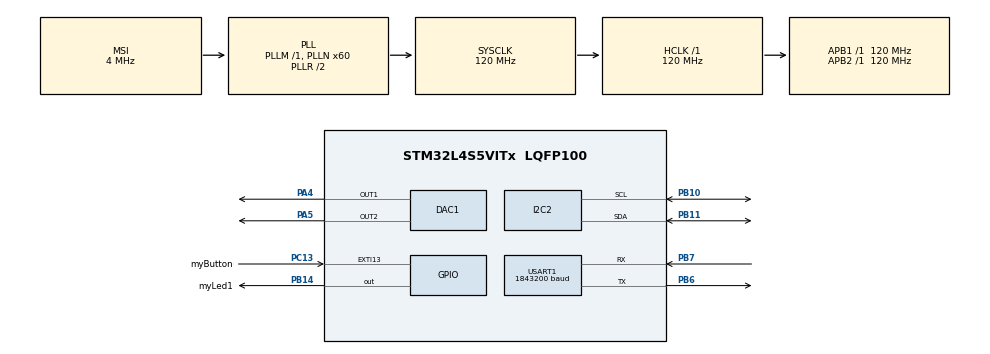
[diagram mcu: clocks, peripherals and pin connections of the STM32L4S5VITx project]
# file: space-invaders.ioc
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ADC1.Channel-0\#ChannelRegularConversion=ADC_CHANNEL_VREFINT
ADC1.NbrOfConversionFlag=1
ADC1.OffsetNumber-0\#ChannelRegularConversion=ADC_OFFSET_NONE
ADC1.Rank-0\#ChannelRegularConversion=1
ADC1.SamplingTime-0\#ChannelRegularConversion=ADC_SAMPLETIME_640CYCLES_5
ADC1.master=1
DAC1.DAC_Channel-DAC_OUT2=DAC_CHANNEL_2
DAC1.DAC_Trigger-DAC_OUT1=DAC_TRIGGER_T2_TRGO
Dma.DAC1_CH1.0.Direction=DMA_MEMORY_TO_PERIPH
Dma.DAC1_CH1.0.EventEnable=DISABLE
Dma.DAC1_CH1.0.Instance=DMA1_Channel1
Dma.DAC1_CH1.0.MemDataAlignment=DMA_MDATAALIGN_HALFWORD
Dma.DAC1_CH1.0.MemInc=DMA_MINC_ENABLE
Dma.DAC1_CH1.0.Mode=DMA_CIRCULAR
Dma.DAC1_CH1.0.PeriphDataAlignment=DMA_PDATAALIGN_HALFWORD
Dma.DAC1_CH1.0.PeriphInc=DMA_PINC_DISABLE
Dma.DAC1_CH1.0.Polarity=HAL_DMAMUX_REQUEST_GEN_RISING
Dma.DAC1_CH1.0.Priority=DMA_PRIORITY_LOW
Dma.DAC1_CH1.0.RequestNumber=1
Dma.DAC1_CH1.0.SignalID=NONE
Dma.DAC1_CH1.0.SyncEnable=DISABLE
Dma.DAC1_CH1.0.SyncPolarity=HAL_DMAMUX_SYNC_NO_EVENT
Dma.DAC1_CH1.0.SyncRequestNumber=1
Dma.DAC1_CH1.0.SyncSignalID=NONE
Dma.Request0=DAC1_CH1
FREERTOS.Tasks01=defaultTask,-2,256,StartDefaultTask,Default,NULL,Dynamic,NULL,NULL;processingData,0,256,StartProcessData,Default,NULL,Dynamic,NULL,NULL;soundTask,-3,128,StartSoundTask,Default,NULL,Dynamic,NULL,NULL
FREERTOS.configTOTAL_HEAP_SIZE=6000
I2C2.Timing=0x30A175AB
Mcu.Family=STM32L4
Mcu.Name=STM32L4S5VITx
Mcu.Package=LQFP100
NVIC.DMA1_Channel1_IRQn=true\:5\:0\:false\:false\:true\:true\:false\:true\:true
NVIC.EXTI15_10_IRQn=true\:5\:0\:false\:false\:true\:true\:true\:true\:true
NVIC.PriorityGroup=NVIC_PRIORITYGROUP_4
NVIC.TIM2_IRQn=true\:5\:0\:false\:false\:true\:true\:true\:true\:true
NVIC.TIM6_DAC_IRQn=true\:5\:0\:false\:false\:true\:false\:false\:true\:true
PA13\ (JTMS/SWDIO).Signal=SYS_JTMS-SWDIO
PA4.Signal=SharedAnalog_PA4
PA5.Signal=COMP_DAC12_group
PB10.Mode=I2C
PB10.Signal=I2C2_SCL
PB11.Mode=I2C
PB11.Signal=I2C2_SDA
PB14.GPIO_Label=myLed1
PB14.Signal=GPIO_Output
PB3\ (JTDO/TRACESWO).Signal=SYS_JTDO-SWO
PB6.Mode=Asynchronous
PB6.Signal=USART1_TX
PB7.Mode=Asynchronous
PB7.Signal=USART1_RX
PC13.GPIO_Label=myButton
PC13.Signal=GPXTI13
ProjectManager.HeapSize=0x200
ProjectManager.StackSize=0x400
ProjectManager.TargetToolchain=STM32CubeIDE
RCC.ADCFreq_Value=48000000
RCC.AHBFreq_Value=120000000
RCC.APB1Freq_Value=120000000
RCC.APB1TimFreq_Value=120000000
RCC.APB2Freq_Value=120000000
RCC.APB2TimFreq_Value=120000000
RCC.CortexFreq_Value=120000000
RCC.HCLKFreq_Value=120000000
RCC.HSE_VALUE=8000000
RCC.HSI48_VALUE=48000000
RCC.HSI_VALUE=16000000
RCC.LSE_VALUE=32768
RCC.MSI_VALUE=4000000
RCC.PLLN=60
RCC.PLLSAI1N=24
RCC.SYSCLKFreq_VALUE=120000000
RCC.SYSCLKSource=RCC_SYSCLKSOURCE_PLLCLK
RCC.USBFreq_Value=48000000
RCC.VCOOutputFreq_Value=240000000
SH.COMP_DAC12_group.0=DAC1_OUT2,DAC_OUT2
SH.SharedAnalog_PA4.0=DAC1_OUT1,DAC_OUT1
SH.SharedAnalog_PA4.1=ADC1_IN9,IN9-Single-Ended
TIM2.Period=2727
TIM2.TIM_MasterOutputTrigger=TIM_TRGO_UPDATE
USART1.BaudRate=1843200
USART1.ClockPrescaler=PRESCALER_DIV4
USART1.VirtualMode-Asynchronous=VM_ASYNC
VP_ADC1_Vref_Input.Mode=IN-Vrefint
VP_FREERTOS_VS_CMSIS_V1.Mode=CMSIS_V1
VP_TIM2_VS_ClockSourceINT.Mode=Internal
board=B-L4S5I-IOT01A

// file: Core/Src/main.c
/* USER CODE BEGIN Header */
/**
  ******************************************************************************
  * @file           : main.c
  * @brief          : Main program body
  ******************************************************************************
  * @attention
  *
  * Copyright (c) 2024 STMicroelectronics.
  * All rights reserved.
  *
  * This software is licensed under terms that can be found in the LICENSE file
  * in the root directory of this software component.
  * If no LICENSE file comes with this software, it is provided AS-IS.
  *
  ******************************************************************************
  */
/* USER CODE END Header */
#include "main.h"
#include "cmsis_os.h"

/* USER CODE BEGIN Includes */
#include "arm_math.h"
#include <stdio.h>
#include "util.h"
#include "kalman.h"
#include "ui.h"
/* USER CODE END Includes */

/* USER CODE BEGIN PD */
#define ARM_MATH_CM4

// sound
#define SIZE1K ((float) 44.0)
#define SIZE15K ((float) 30.0)
#define SIZE2K ((float) 22.0)

#define VREFINT_CAL_ADDRESS ((uint16_t*) (0x1FFF75AA))
#define VREFINT_CAL (*VREFINT_CAL_ADDRESS)

/* USER CODE END PD */

ADC_HandleTypeDef hadc1;

DAC_HandleTypeDef hdac1;
DMA_HandleTypeDef hdma_dac1_ch1;

I2C_HandleTypeDef hi2c2;

TIM_HandleTypeDef htim2;

UART_HandleTypeDef huart1;

osThreadId defaultTaskHandle;
osThreadId processingDataHandle;
osThreadId soundTaskHandle;

void SystemClock_Config(void);
static void MX_GPIO_Init(void);
static void MX_DMA_Init(void);
static void MX_I2C2_Init(void);
static void MX_USART1_UART_Init(void);
static void MX_ADC1_Init(void);
static void MX_DAC1_Init(void);
static void MX_TIM2_Init(void);
void StartDefaultTask(void const * argument);
void StartProcessData(void const * argument);
void StartSoundTask(void const * argument);

/* USER CODE BEGIN PFP */
/* Private function prototypes -----------------------------------------------*/
/* USER CODE END PFP */

/* USER CODE BEGIN 0 */

/* Constants */
#define ACCEL_THRESHOLD 10.0f  // Threshold for tilt detection

const char* map_names[NUM_MAPS] = {
    "Zeljko's Dungeon",
    "Zilander",
    "Zoolander",
	"Zoolander 2",
	"Zoo york"
};

/* Tilting detection */
int16_t x_position = X_MAP_SIZE/2 ;

/* Kalman Filter States */
kalman_state kalman_x = {0.07f, 2.0f, 0.0f, 1.0f, 0.0f};
kalman_state kalman_y = {0.07f, 2.0f, 0.0f, 1.0f, 0.0f};
kalman_state kalman_z = {0.07f, 2.0f, 0.0f, 1.0f, 0.0f};

/* Acceleration data */
int16_t raw_acceleration[3];    // Raw accelerometer data
int16_t filtered_acceleration[3];  // Filtered accelerometer data (using Kalman filter)

char display[25][60] = {0};
char ui_string[1760] = {0};

struct Position alien_positions[70] = {0};
int aliens_remaining = 0;
struct Position bullet_positions[300] = {0};

// Bullet
int fireBullet = 0;
// Timestamp
int timestamp = 0;
int mode;

// Gameplay
uint8_t gameOver = 0;

// Main menu
int buttonPressed = 0;
int main_menu = 1;
int printed_menu = 0;
float init_p = 0.0;
float pressure = 0.0;

// sound
int soundFlag = 0;

float vref;

float sin1kHz_f[44] = {2048.0, 2242.3071925224585, 2432.658850940832, 2615.1799644185753, 2786.154929432709, 2942.1031887466293, 3079.850085518347, 3196.591490158839, 3289.9508843240355, 3358.027739974994, 3399.4362086481, 3413.333333333333, 3399.4362086481, 3358.027739974994, 3289.9508843240355, 3196.591490158839, 3079.850085518347, 2942.1031887466293, 2786.154929432709, 2615.1799644185753, 2432.658850940832, 2242.307192522459, 2048.0000000000005, 1853.6928074775415, 1663.3411490591684, 1480.8200355814242, 1309.8450705672908, 1153.8968112533707, 1016.1499144816528, 899.4085098411604, 806.0491156759641, 737.9722600250062, 696.5637913518999, 682.6666666666666, 696.5637913518997, 737.9722600250061, 806.049115675964, 899.4085098411603, 1016.1499144816528, 1153.896811253371, 1309.8450705672908, 1480.8200355814242, 1663.341149059168, 1853.692807477541};
float sin15kHz_f[30]= {2048.0, 2331.8687618631807, 2603.3310966794925, 2850.5227977966565, 3062.6404017184686, 3230.4133513003535, 3346.50916358165, 3405.853894476149, 3405.8538944761494, 3346.50916358165, 3230.4133513003535, 3062.640401718469, 2850.522797796657, 2603.331096679493, 2331.868761863181, 2048.0000000000005, 1764.1312381368198, 1492.668903320508, 1245.4772022033435, 1033.3595982815314, 865.5866486996466, 749.4908364183503, 690.1461055238508, 690.1461055238507, 749.4908364183502, 865.5866486996458, 1033.3595982815305, 1245.477202203343, 1492.6689033205064, 1764.1312381368184};
float sin2kHz_f[22] = {2048.0, 2432.658850940832, 2786.154929432709, 3079.850085518347, 3289.9508843240355, 3399.4362086481, 3399.4362086481, 3289.9508843240355, 3079.850085518347, 2786.154929432709, 2432.658850940832, 2048.0000000000005, 1663.3411490591684, 1309.8450705672908, 1016.1499144816528, 806.0491156759641, 696.5637913518999, 696.5637913518997, 806.049115675964, 1016.1499144816528, 1309.8450705672908, 1663.341149059168};

uint16_t sin1kHz[44];
uint16_t sin15kHz[30];
uint16_t sin2kHz[22];

/* USER CODE END 0 */

int main(void)
{

  /* MCU Configuration--------------------------------------------------------*/

  /* Reset of all peripherals, Initializes the Flash interface and the Systick. */
  HAL_Init();

  /* Configure the system clock */
  SystemClock_Config();

  /* Initialize all configured peripherals */
  MX_GPIO_Init();
  MX_DMA_Init();
  MX_I2C2_Init();
  MX_USART1_UART_Init();
  MX_ADC1_Init();
  MX_DAC1_Init();
  MX_TIM2_Init();
  /* USER CODE BEGIN 2 */
  BSP_ACCELERO_Init();  // Initialize the accelerometer
  BSP_PSENSOR_Init();

  if (HAL_ADC_Start(&hadc1))
  {
      Error_Handler();
  }
  HAL_ADCEx_Calibration_Start(&hadc1, ADC_SINGLE_ENDED);
  HAL_ADC_PollForConversion(&hadc1, HAL_MAX_DELAY);   //wait for completion
  float raw_voltage = HAL_ADC_GetValue(&hadc1);		  //read sensor's digital value
  HAL_ADC_Stop(&hadc1);
  vref = 3.0f * VREFINT_CAL/raw_voltage;

  for (int y = 0; y<SIZE1K ; y++){
	  sin1kHz[y] = (int) (sin1kHz_f[y]/vref*2);
  }

  for (int y = 0; y<SIZE15K ; y++){
  	  sin15kHz[y] =(int) (sin15kHz_f[y]/vref*2); // +1 for positive and multiplication for amplitude
  }

  for (int y = 0; y<SIZE2K ; y++){
  	  sin2kHz[y] = (int) (sin2kHz_f[y]/vref*2); // +1 for positive and multiplication for amplitude
  }

  if (HAL_TIM_Base_Start_IT(&htim2) != HAL_OK)
  {
    Error_Handler();
  }

  /* USER CODE END 2 */

  /* Create the thread(s) */
  /* definition and creation of defaultTask */
  osThreadDef(defaultTask, StartDefaultTask, osPriorityLow, 0, 256);
  defaultTaskHandle = osThreadCreate(osThread(defaultTask), NULL);

  /* definition and creation of processingData */
  osThreadDef(processingData, StartProcessData, osPriorityNormal, 0, 256);
  processingDataHandle = osThreadCreate(osThread(processingData), NULL);

  /* definition and creation of soundTask */
  osThreadDef(soundTask, StartSoundTask, osPriorityIdle, 0, 128);
  soundTaskHandle = osThreadCreate(osThread(soundTask), NULL);

  /* Start scheduler */
  osKernelStart();

  /* We should never get here as control is now taken by the scheduler */

  /* Infinite loop */
  while (1)
  {

  }
}

void SystemClock_Config(void)
{
  RCC_OscInitTypeDef RCC_OscInitStruct = {0};
  RCC_ClkInitTypeDef RCC_ClkInitStruct = {0};

  /** Configure the main internal regulator output voltage
  */
  if (HAL_PWREx_ControlVoltageScaling(PWR_REGULATOR_VOLTAGE_SCALE1_BOOST) != HAL_OK)
  {
    Error_Handler();
  }

  /** Initializes the RCC Oscillators according to the specified parameters
  * in the RCC_OscInitTypeDef structure.
  */
  RCC_OscInitStruct.OscillatorType = RCC_OSCILLATORTYPE_MSI;
  RCC_OscInitStruct.MSIState = RCC_MSI_ON;
  RCC_OscInitStruct.MSICalibrationValue = 0;
  RCC_OscInitStruct.MSIClockRange = RCC_MSIRANGE_6;
  RCC_OscInitStruct.PLL.PLLState = RCC_PLL_ON;
  RCC_OscInitStruct.PLL.PLLSource = RCC_PLLSOURCE_MSI;
  RCC_OscInitStruct.PLL.PLLM = 1;
  RCC_OscInitStruct.PLL.PLLN = 60;
  RCC_OscInitStruct.PLL.PLLP = RCC_PLLP_DIV2;
  RCC_OscInitStruct.PLL.PLLQ = RCC_PLLQ_DIV2;
  RCC_OscInitStruct.PLL.PLLR = RCC_PLLR_DIV2;
  if (HAL_RCC_OscConfig(&RCC_OscInitStruct) != HAL_OK)
  {
    Error_Handler();
  }

  /** Initializes the CPU, AHB and APB buses clocks
  */
  RCC_ClkInitStruct.ClockType = RCC_CLOCKTYPE_HCLK|RCC_CLOCKTYPE_SYSCLK
                              |RCC_CLOCKTYPE_PCLK1|RCC_CLOCKTYPE_PCLK2;
  RCC_ClkInitStruct.SYSCLKSource = RCC_SYSCLKSOURCE_PLLCLK;
  RCC_ClkInitStruct.AHBCLKDivider = RCC_SYSCLK_DIV1;
  RCC_ClkInitStruct.APB1CLKDivider = RCC_HCLK_DIV1;
  RCC_ClkInitStruct.APB2CLKDivider = RCC_HCLK_DIV1;

  if (HAL_RCC_ClockConfig(&RCC_ClkInitStruct, FLASH_LATENCY_5) != HAL_OK)
  {
    Error_Handler();
  }
}

static void MX_ADC1_Init(void)
{

  ADC_ChannelConfTypeDef sConfig = {0};

  /** Common config
  */
  hadc1.Instance = ADC1;
  hadc1.Init.ClockPrescaler = ADC_CLOCK_ASYNC_DIV1;
  hadc1.Init.Resolution = ADC_RESOLUTION_12B;
  hadc1.Init.DataAlign = ADC_DATAALIGN_RIGHT;
  hadc1.Init.ScanConvMode = ADC_SCAN_DISABLE;
  hadc1.Init.EOCSelection = ADC_EOC_SINGLE_CONV;
  hadc1.Init.LowPowerAutoWait = DISABLE;
  hadc1.Init.ContinuousConvMode = DISABLE;
  hadc1.Init.NbrOfConversion = 1;
  hadc1.Init.DiscontinuousConvMode = DISABLE;
  hadc1.Init.ExternalTrigConv = ADC_SOFTWARE_START;
  hadc1.Init.ExternalTrigConvEdge = ADC_EXTERNALTRIGCONVEDGE_NONE;
  hadc1.Init.DMAContinuousRequests = DISABLE;
  hadc1.Init.Overrun = ADC_OVR_DATA_PRESERVED;
  hadc1.Init.OversamplingMode = DISABLE;
  if (HAL_ADC_Init(&hadc1) != HAL_OK)
  {
    Error_Handler();
  }

  /** Configure Regular Channel
  */
  sConfig.Channel = ADC_CHANNEL_VREFINT;
  sConfig.Rank = ADC_REGULAR_RANK_1;
  sConfig.SamplingTime = ADC_SAMPLETIME_640CYCLES_5;
  sConfig.SingleDiff = ADC_SINGLE_ENDED;
  sConfig.OffsetNumber = ADC_OFFSET_NONE;
  sConfig.Offset = 0;
  if (HAL_ADC_ConfigChannel(&hadc1, &sConfig) != HAL_OK)
  {
    Error_Handler();
  }

}

static void MX_DAC1_Init(void)
{

  DAC_ChannelConfTypeDef sConfig = {0};

  /** DAC Initialization
  */
  hdac1.Instance = DAC1;
  if (HAL_DAC_Init(&hdac1) != HAL_OK)
  {
    Error_Handler();
  }

  /** DAC channel OUT1 config
  */
  sConfig.DAC_SampleAndHold = DAC_SAMPLEANDHOLD_DISABLE;
  sConfig.DAC_Trigger = DAC_TRIGGER_T2_TRGO;
  sConfig.DAC_HighFrequency = DAC_HIGH_FREQUENCY_INTERFACE_MODE_ABOVE_80MHZ;
  sConfig.DAC_OutputBuffer = DAC_OUTPUTBUFFER_ENABLE;
  sConfig.DAC_ConnectOnChipPeripheral = DAC_CHIPCONNECT_DISABLE;
  sConfig.DAC_UserTrimming = DAC_TRIMMING_FACTORY;
  if (HAL_DAC_ConfigChannel(&hdac1, &sConfig, DAC_CHANNEL_1) != HAL_OK)
  {
    Error_Handler();
  }

  /** DAC channel OUT2 config
  */
  sConfig.DAC_Trigger = DAC_TRIGGER_NONE;
  if (HAL_DAC_ConfigChannel(&hdac1, &sConfig, DAC_CHANNEL_2) != HAL_OK)
  {
    Error_Handler();
  }

}

static void MX_I2C2_Init(void)
{

  hi2c2.Instance = I2C2;
  hi2c2.Init.Timing = 0x30A175AB;
  hi2c2.Init.OwnAddress1 = 0;
  hi2c2.Init.AddressingMode = I2C_ADDRESSINGMODE_7BIT;
  hi2c2.Init.DualAddressMode = I2C_DUALADDRESS_DISABLE;
  hi2c2.Init.OwnAddress2 = 0;
  hi2c2.Init.OwnAddress2Masks = I2C_OA2_NOMASK;
  hi2c2.Init.GeneralCallMode = I2C_GENERALCALL_DISABLE;
  hi2c2.Init.NoStretchMode = I2C_NOSTRETCH_DISABLE;
  if (HAL_I2C_Init(&hi2c2) != HAL_OK)
  {
    Error_Handler();
  }

  /** Configure Analogue filter
  */
  if (HAL_I2CEx_ConfigAnalogFilter(&hi2c2, I2C_ANALOGFILTER_ENABLE) != HAL_OK)
  {
    Error_Handler();
  }

  /** Configure Digital filter
  */
  if (HAL_I2CEx_ConfigDigitalFilter(&hi2c2, 0) != HAL_OK)
  {
    Error_Handler();
  }

}

static void MX_TIM2_Init(void)
{

  TIM_ClockConfigTypeDef sClockSourceConfig = {0};
  TIM_MasterConfigTypeDef sMasterConfig = {0};

  htim2.Instance = TIM2;
  htim2.Init.Prescaler = 0;
  htim2.Init.CounterMode = TIM_COUNTERMODE_UP;
  htim2.Init.Period = 2727;
  htim2.Init.ClockDivision = TIM_CLOCKDIVISION_DIV1;
  htim2.Init.AutoReloadPreload = TIM_AUTORELOAD_PRELOAD_DISABLE;
  if (HAL_TIM_Base_Init(&htim2) != HAL_OK)
  {
    Error_Handler();
  }
  sClockSourceConfig.ClockSource = TIM_CLOCKSOURCE_INTERNAL;
  if (HAL_TIM_ConfigClockSource(&htim2, &sClockSourceConfig) != HAL_OK)
  {
    Error_Handler();
  }
  sMasterConfig.MasterOutputTrigger = TIM_TRGO_UPDATE;
  sMasterConfig.MasterSlaveMode = TIM_MASTERSLAVEMODE_DISABLE;
  if (HAL_TIMEx_MasterConfigSynchronization(&htim2, &sMasterConfig) != HAL_OK)
  {
    Error_Handler();
  }

}

static void MX_USART1_UART_Init(void)
{

  huart1.Instance = USART1;
  huart1.Init.BaudRate = 921600;
  huart1.Init.WordLength = UART_WORDLENGTH_8B;
  huart1.Init.StopBits = UART_STOPBITS_1;
  huart1.Init.Parity = UART_PARITY_NONE;
  huart1.Init.Mode = UART_MODE_TX_RX;
  huart1.Init.HwFlowCtl = UART_HWCONTROL_NONE;
  huart1.Init.OverSampling = UART_OVERSAMPLING_16;
  huart1.Init.OneBitSampling = UART_ONE_BIT_SAMPLE_DISABLE;
  huart1.Init.ClockPrescaler = UART_PRESCALER_DIV4;
  huart1.AdvancedInit.AdvFeatureInit = UART_ADVFEATURE_NO_INIT;
  if (HAL_UART_Init(&huart1) != HAL_OK)
  {
    Error_Handler();
  }
  if (HAL_UARTEx_SetTxFifoThreshold(&huart1, UART_TXFIFO_THRESHOLD_1_8) != HAL_OK)
  {
    Error_Handler();
  }
  if (HAL_UARTEx_SetRxFifoThreshold(&huart1, UART_RXFIFO_THRESHOLD_1_8) != HAL_OK)
  {
    Error_Handler();
  }
  if (HAL_UARTEx_DisableFifoMode(&huart1) != HAL_OK)
  {
    Error_Handler();
  }

}

static void MX_DMA_Init(void)
{

  /* DMA controller clock enable */
  __HAL_RCC_DMAMUX1_CLK_ENABLE();
  __HAL_RCC_DMA1_CLK_ENABLE();

  /* DMA interrupt init */
  /* DMA1_Channel1_IRQn interrupt configuration */
  HAL_NVIC_SetPriority(DMA1_Channel1_IRQn, 5, 0);
  HAL_NVIC_EnableIRQ(DMA1_Channel1_IRQn);

}

static void MX_GPIO_Init(void)
{
  GPIO_InitTypeDef GPIO_InitStruct = {0};

  /* GPIO Ports Clock Enable */
  __HAL_RCC_GPIOC_CLK_ENABLE();
  __HAL_RCC_GPIOA_CLK_ENABLE();
  __HAL_RCC_GPIOB_CLK_ENABLE();

  /*Configure GPIO pin Output Level */
  HAL_GPIO_WritePin(myLed1_GPIO_Port, myLed1_Pin, GPIO_PIN_RESET);

  /*Configure GPIO pin : myButton_Pin */
  GPIO_InitStruct.Pin = myButton_Pin;
  GPIO_InitStruct.Mode = GPIO_MODE_IT_RISING;
  GPIO_InitStruct.Pull = GPIO_NOPULL;
  HAL_GPIO_Init(myButton_GPIO_Port, &GPIO_InitStruct);

  /*Configure GPIO pin : myLed1_Pin */
  GPIO_InitStruct.Pin = myLed1_Pin;
  GPIO_InitStruct.Mode = GPIO_MODE_OUTPUT_PP;
  GPIO_InitStruct.Pull = GPIO_NOPULL;
  GPIO_InitStruct.Speed = GPIO_SPEED_FREQ_LOW;
  HAL_GPIO_Init(myLed1_GPIO_Port, &GPIO_InitStruct);

  /* EXTI interrupt init*/
  HAL_NVIC_SetPriority(EXTI15_10_IRQn, 5, 0);
  HAL_NVIC_EnableIRQ(EXTI15_10_IRQn);

}

/* USER CODE BEGIN 4 */

void HAL_GPIO_EXTI_Callback (uint16_t GPIO_Pin) {
	if (GPIO_Pin == myButton_Pin) {
		soundFlag = 1;
		if (main_menu == 1){
			buttonPressed++;
			printed_menu=0;
		} else {
			shoot();
		}
	}
}

void vApplicationStackOverflowHook(TaskHandle_t xTask, char *pcTaskName)
{
    // Report stack overflow
    printf("Stack overflow detected in task: %s\n", pcTaskName);

    // Optionally halt the system for debugging
    while (1);
}

/* USER CODE END 4 */

void StartDefaultTask(void const * argument)
{
  /* USER CODE BEGIN 5 */
	/* Infinite loop */
	for(;;)
	{
		osDelay(100);

		if (main_menu == 1)
		{

			if (printed_menu == 0) {
				printed_menu = 1;
				print_main_menu();
				init_p = BSP_PSENSOR_ReadPressure() + 5;

			}
			pressure = BSP_PSENSOR_ReadPressure();
			if (pressure > init_p) {
				char* buffer = (char*)malloc(128 * sizeof(char));
					if (buffer == NULL) {
						// Handle allocation failure
						return;
					}
				// Clear buffer
				memset(buffer, 0, 512);
				// Add header
				strcpy(buffer, "\n\n\n\n\n\n\n\n\n\n\n\n\n\n\n\n\n\n\n\n\n\n\n\n\n\n\nYou have selected the map:");

				// Add map names
				strcat(buffer, map_names[buttonPressed%NUM_MAPS]);
				// Transmit
				HAL_UART_Transmit(&huart1, (uint8_t*)buffer, strlen(buffer), 500);
				free(buffer);
				main_menu = 0;
				HAL_UART_Transmit(&huart1, (uint8_t*)"\033[2J", strlen("\033[2J"), 500);
				aliens_remaining = ((buttonPressed)%NUM_MAPS+1)*10;
				for (int i = 0; i < 300; i++) {
					bullet_positions[i].row = -1;
					bullet_positions[i].col = -1;
				}
			}
		}

		if (main_menu != 1) {
			uint8_t moveBullets = 0;
			uint8_t moveAliens = 0;

			if (timestamp % 2 == 0) {
				moveBullets = 1;
			}

			if (timestamp % 12 == 0) {
				if (timestamp < ((buttonPressed)%NUM_MAPS+1)*24 && timestamp % 24 == 0) start_wave((timestamp)/24);
				moveAliens = 1;
			}
			HAL_UART_Transmit(&huart1, (uint8_t*)"\033[H", strlen("\033[H"), 100);
			// HAL_UART_Transmit(&huart1, (uint8_t*)"\033[2K", strlen("\033[2K"), 100);
			if (!gameOver) {
				gameOver = compute_new_UI_frame(moveBullets, moveAliens);
				timestamp++;
			} else {

				if(aliens_remaining == 0){
					print_win();
				} else {
					print_game_over();
				}
			}
	}

	}
  /* USER CODE END 5 */
}

void StartProcessData(void const * argument)
{
  /* USER CODE BEGIN StartProcessData */
  /* Infinite loop */
  for(;;)
  {
    osDelay(150);
    if (main_menu != 1)
	{
    	BSP_ACCELERO_AccGetXYZ(raw_acceleration);
		 // Apply Kalman filter to each axis
		filtered_acceleration[0] = kalman_filter_CMSIS(&kalman_x, (float32_t)raw_acceleration[0]);
		filtered_acceleration[1] = kalman_filter_CMSIS(&kalman_y, (float32_t)raw_acceleration[1]);
		filtered_acceleration[2] = kalman_filter_CMSIS(&kalman_z, (float32_t)raw_acceleration[2]);
		x_position = tilt_detection(filtered_acceleration, x_position);
	}

  }
  /* USER CODE END StartProcessData */
}

void StartSoundTask(void const * argument)
{
  /* USER CODE BEGIN StartSoundTask */
  /* Infinite loop */
  for(;;)
  {
	osDelay(10);
	if (soundFlag == 1)
	{
		soundFlag = 0;
		HAL_DAC_Start_DMA(&hdac1, DAC_CHANNEL_1, (uint16_t *)sin2kHz, SIZE2K, DAC_ALIGN_12B_R);
		osDelay(100); // HAL_Delay wrecks the program, callbacks must be short
		HAL_DAC_Stop_DMA(&hdac1, DAC_CHANNEL_1);
	}
  }
  /* USER CODE END StartSoundTask */
}

void Error_Handler(void)
{
  __disable_irq();
  while (1)
  {
  }
}
